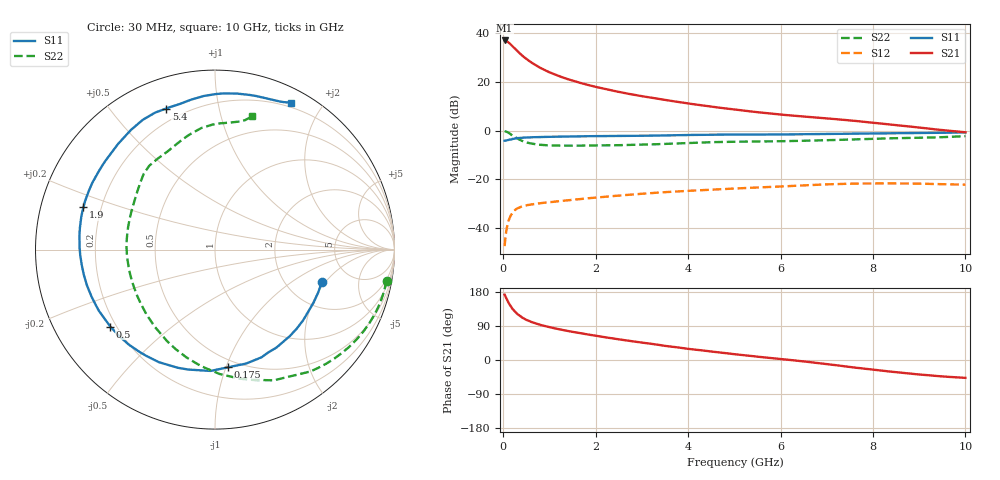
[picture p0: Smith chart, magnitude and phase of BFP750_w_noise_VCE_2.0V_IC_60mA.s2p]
! Infineon Technologies  Discrete & RF Semiconductors
! BFP750
! VCE =  2.0 V,  IC =  60 mA
! Common Emitter S-Parameters:  Jan 2016
# GHz  S  MA  R  50
!  f  S11  S21  S12  S22
! GHz  MAG  ANG  MAG  ANG  MAG  ANG  MAG  ANG
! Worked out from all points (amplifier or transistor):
!   229 points, 30 MHz to 10 GHz, reference 50 ohm
!   highest |S21| = 37.1 dB at 30 MHz (marker M1)
!   |S21| within 3 dB of that: start of sweep to 233.5 MHz
!   unconditionally stable (mu >= 1): 3.693 GHz to end of sweep
!   at 280 MHz: K = 0.18, MSG = 32.8 dB, |S12| = -32.3 dB
!   at 1.78 GHz: K = 0.73, MSG = 23.5 dB, |S12| = -27.9 dB
!   at 10 GHz: K = 1.05, MAG = 9.4 dB, |S12| = -22.2 dB
!   lowest NFmin = 1.14 dB at 450 MHz
!   S11 on the Smith chart (normalised r, x): 30 MHz: 3.10, -1.84; 175 MHz: 0.44, -1.02; 500 MHz: 0.18, -0.32; 1.9 GHz: 0.13, +0.15; 5.4 GHz: 0.14, +0.70; 10 GHz: 0.15, +1.63
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0.03  0.6215 -17.1  71.78 172.4  0.0042 83.7  0.9712 -10.3
0.05  0.6236 -28.2  71.36 166.6  0.0067 78.9  0.9668 -18.0
0.07  0.6297 -39.0  69.81 161.6  0.0092 74.5  0.9529 -25.4
0.1  0.6393 -53.7  66.9 154.6  0.0124 67.8  0.9236 -35.9
0.14  0.6547 -70.7  62.17 146.0  0.0163 60.5  0.8747 -48.9
0.175  0.6598 -83.6  57.69 139.7  0.0188 54.9  0.8242 -58.6
0.2  0.6765 -92.1  54.7 135.0  0.0205 51.7  0.7986 -65.8
0.3  0.7007 -116.4  43.9 121.9  0.025 41.8  0.6935 -87.9
0.4  0.7148 -132.3  35.79 112.7  0.0275 35.8  0.6219 -104.7
0.5  0.7239 -143.7  29.91 106.0  0.0291 32.1  0.5754 -117.7
0.7  0.7361 -158.8  22.23 96.4  0.0313 28.0  0.5254 -136.6
1  0.747 -173.1  15.88 86.5  0.0337 25.9  0.4983 -154.8
1.3  0.7562 176.9  12.32 78.9  0.0361 25.2  0.4913 -167.1
1.7  0.7669 166.6  9.427 70.1  0.0394 24.7  0.4922 -179.0
1.9  0.7702 162.1  8.398 66.0  0.0411 24.4  0.4942 176.1
2.6  0.7795 148.1  5.998 52.7  0.0469 22.3  0.5048 160.7
3.4  0.7949 134.2  4.438 39.3  0.0535 18.5  0.5291 147.0
5.1  0.8322 112.5  2.655 14.1  0.0651 9.1  0.594 127.0
5.4  0.8319 109.1  2.46 10.1  0.067 7.2  0.5972 123.6
6.8  0.8525 96.1  1.855 -7.9  0.077 -2.5  0.6291 109.0
8.4  0.8831 77.3  1.331 -30.9  0.0823 -17.9  0.6964 91.2
10  0.9215 62.7  0.926 -47.2  0.0773 -29.4  0.7717 74.3
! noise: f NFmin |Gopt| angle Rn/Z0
0.45  1.14  0.21  -168  0.44
0.9  1.16  0.29  -162  0.19
1.5  1.18  0.38  -155  0.09
1.9  1.19  0.41  -150  0.08
2.4  1.2  0.42  -142  0.09
3.5  1.43  0.42  -127  0.12
